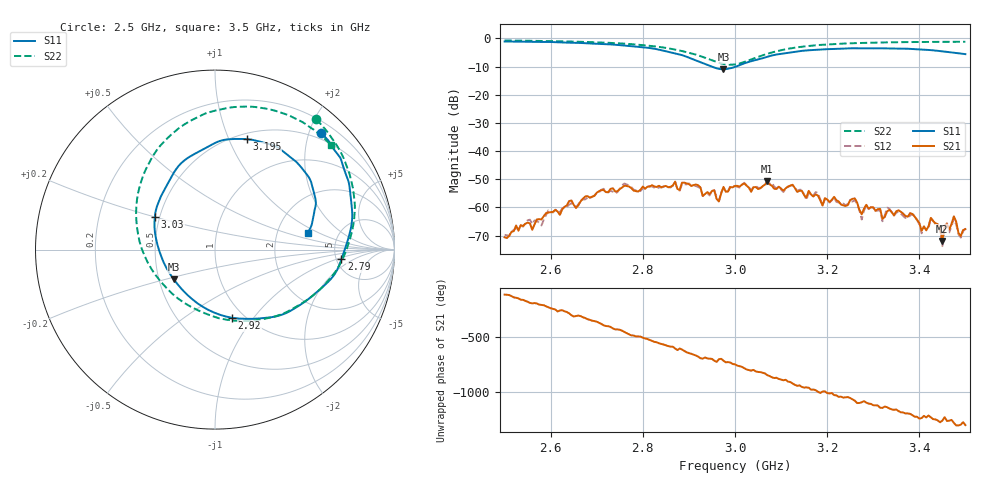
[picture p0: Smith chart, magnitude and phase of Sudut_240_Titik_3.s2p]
# Hz S RI R 50
! CMT, C1220, 16058040, 17.2.0/1
! Date: 15/08/2018 10:43:43
! Data: Format (Calibration Info)
! Freq  S11: Re/Im (F2)  S21: Re/Im (F2)  S12: Re/Im (F2)  S22: Re/Im (F2)
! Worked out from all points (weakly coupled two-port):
!   201 points, 2.5 GHz to 3.5 GHz, reference 50 ohm
!   highest |S21| = -50.76 dB at 3.07 GHz (marker M1); lowest = -71.9 dB at 3.45 GHz (marker M2)
!   lowest |S11| = -10.9 dB at 2.975 GHz (marker M3), VSWR 1.79, Z = 29.8 - j10.7 ohm
!   |S11| at or under -10 dB: 2.949 GHz to 3.002 GHz (52.94 MHz wide, 1.78 % of centre)
!   |S22| runs from -9.3 to -0.7 dB; largest |S21 - S12| = 0.00032
!   S11 on the Smith chart (normalised r, x): 2.5 GHz: 0.38, +2.20; 2.79 GHz: 5.56, -1.18; 2.92 GHz: 0.88, -0.79; 3.03 GHz: 0.47, +0.20; 3.195 GHz: 0.56, +1.17; 3.5 GHz: 2.99, +0.77
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2.5e9  0.5917 0.6519  -7.15e-05 -0.000286  -1.85e-05 -0.000324  0.5637 0.7251
2.67e9  0.7501 0.3454  0.000988 0.00103  0.001 0.000943  0.7383 0.4538
2.79e9  0.7047 -0.0533  -0.00125 -0.00145  -0.0013 -0.00138  0.7642 0.1053
2.835e9  0.5935 -0.214  -0.00236 0.00055  -0.00222 0.000438  0.7033 -0.0678
2.92e9  0.0955 -0.3802  0.00179 0.00171  0.00166 0.00161  0.3334 -0.3727
2.965e9  -0.1835 -0.2221  0.00121 0.000416  0.00124 0.000392  -0.0186 -0.3693
2.975e9  -0.2307 -0.1648  0.0023 0.000221  0.0022 0.000155  -0.0958 -0.3377
3e9  -0.311 -0.00565  0.00214 -0.00111  0.00203 -0.00122  -0.2711 -0.2128
3.03e9  -0.3351 0.1843  0.000392 -0.00222  0.000366 -0.00226  -0.4081 0.00437
3.07e9  -0.2434 0.4035  -0.00176 -0.0023  -0.00156 -0.00231  -0.4284 0.3163
3.17e9  0.093 0.6157  -0.000283 0.00153  -0.000453 0.00155  -0.0895 0.7415
3.195e9  0.1771 0.6154  0.00017 0.00145  0.000272 0.00135  0.0021 0.7746
3.26e9  0.3498 0.5693  0.00144 -6.72e-05  0.00134 -0.000112  0.2101 0.7957
3.275e9  0.3778 0.5487  0.000719 -0.00023  0.000568 -0.000219  0.2517 0.7909
3.285e9  0.3995 0.5311  0.00104 -0.00039  0.000988 -0.000388  0.2778 0.7866
3.335e9  0.4885 0.4484  0.000238 -0.000874  0.000102 -0.000952  0.3923 0.7548
3.385e9  0.5413 0.356  -0.000556 -0.000526  -0.000532 -0.000546  0.4879 0.7102
3.405e9  0.554 0.3059  -0.000369 -0.000112  -0.000327 -0.000114  0.5189 0.6888
3.425e9  0.5622 0.2597  -0.000595 -0.000269  -0.000593 -0.00028  0.549 0.6688
3.45e9  0.5524 0.2054  -0.000252 3.18e-05  -0.000205 1.32e-06  0.5853 0.6403
3.46e9  0.5472 0.1785  -0.000498 8.87e-05  -0.000518 0.000103  0.5978 0.6303
3.5e9  0.5169 0.093  -0.000277 0.000306  -0.000235 0.000344  0.6451 0.5836
